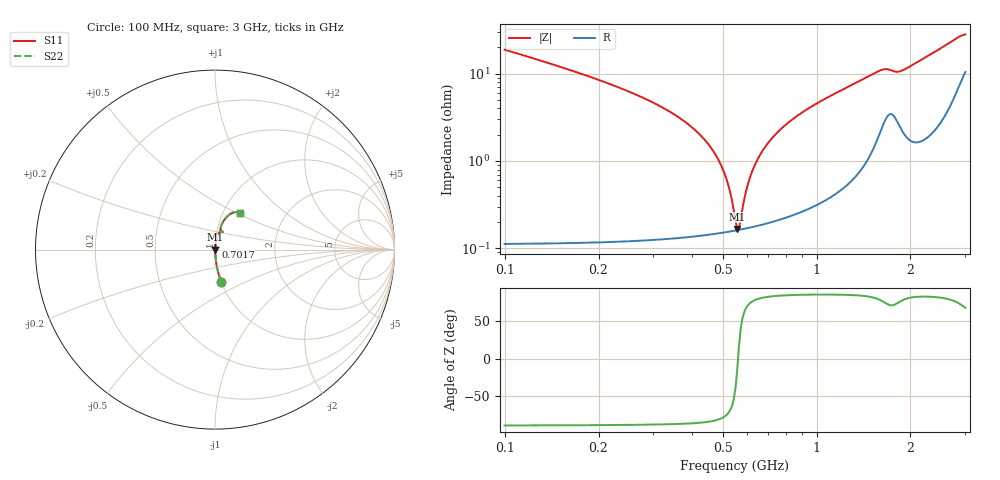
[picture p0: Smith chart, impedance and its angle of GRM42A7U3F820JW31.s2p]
!Murata Part Number: GRM42A7U3F820JW31
!These Parameters are Measured in Series Mode Connection
!Data Generated on Mar 30, 2021
!  o--ll--o
!Port1  Port2
!  o------o
!Operation Temp=25[degC], DC Bias Voltage=0[V]
!Freq. Start=100[MHz] Stop=3[GHz] 401[Steps]
# Hz S RI R 50
!Freq.(Hz) S11(Real) S11(Imag) S21(Real) S21(Imag) S12(Real) S12(Imag) S22(Real) S22(Imag)
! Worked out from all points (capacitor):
!   401 points, 100 MHz to 3 GHz, reference 50 ohm
!   read as one part in series: C = 81.9 pF near 114.5 MHz
!   lowest |Z| = 168 mohm at 556.8 MHz (marker M1)
!   series resonance near 560.2 MHz, so ESL is about 990 pH
!   S11 on the Smith chart (normalised r, x): 100 MHz: 1.00, -0.38; 701.8 MHz: 1.00, +0.03; 3 GHz: 1.21, +0.52
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1e8  0.0352 -0.1812  0.9648 0.1812  0.9648 0.1812  0.0352 -0.1812
2.16e8  0.00701 -0.0761  0.993 0.0761  0.993 0.0761  0.00701 -0.0761
3.61e8  0.00231 -0.0316  0.9977 0.0316  0.9977 0.0316  0.00231 -0.0316
4.4075e8  0.00171 -0.0169  0.9983 0.0169  0.9983 0.0169  0.00171 -0.0169
4.77e8  0.0016 -0.0113  0.9984 0.0113  0.9984 0.0113  0.0016 -0.0113
5.06e8  0.00157 -0.00715  0.9984 0.00715  0.9984 0.00715  0.00157 -0.00715
5.205e8  0.00157 -0.00516  0.9984 0.00516  0.9984 0.00516  0.00157 -0.00516
5.495e8  0.0016 -0.00135  0.9984 0.00135  0.9984 0.00135  0.0016 -0.00135
5.5675e8  0.00162 -0.000431  0.9984 0.000431  0.9984 0.000431  0.00162 -0.000431
5.7125e8  0.00165 0.00138  0.9984 -0.00138  0.9984 -0.00138  0.00165 0.00138
5.8575e8  0.00168 0.00315  0.9983 -0.00315  0.9983 -0.00315  0.00168 0.00315
6.075e8  0.00175 0.00574  0.9982 -0.00574  0.9982 -0.00574  0.00175 0.00574
6.2925e8  0.00184 0.00825  0.9982 -0.00825  0.9982 -0.00825  0.00184 0.00825
7.0175e8  0.00221 0.0162  0.9978 -0.0162  0.9978 -0.0162  0.00221 0.0162
8.4675e8  0.00336 0.0307  0.9966 -0.0307  0.9966 -0.0307  0.00336 0.0307
1.0715e9  0.00624 0.0516  0.9938 -0.0516  0.9938 -0.0516  0.00624 0.0516
1.55e9  0.0257 0.0977  0.9743 -0.0977  0.9743 -0.0977  0.0257 0.0977
1.65875e9  0.0391 0.1015  0.9609 -0.1015  0.9609 -0.1015  0.0391 0.1015
1.83275e9  0.0351 0.0959  0.9649 -0.0959  0.9649 -0.0959  0.0351 0.0959
2.03575e9  0.031 0.1195  0.969 -0.1195  0.969 -0.1195  0.031 0.1195
2.5215e9  0.0622 0.179  0.9378 -0.179  0.9378 -0.179  0.0622 0.179
3e9  0.142 0.2023  0.858 -0.2023  0.858 -0.2023  0.142 0.2023
